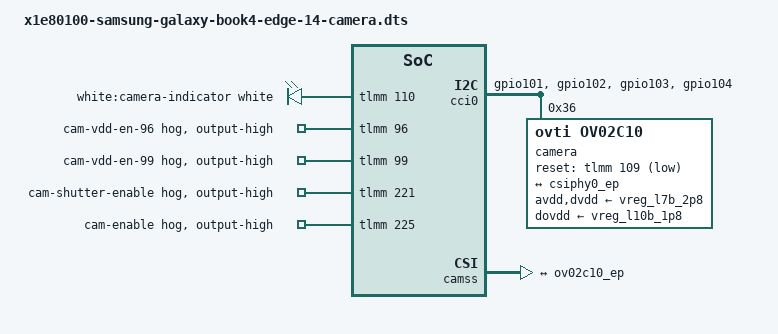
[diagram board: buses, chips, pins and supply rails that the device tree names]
// SPDX-License-Identifier: BSD-3-Clause
/*
 * EXPERIMENTAL: Galaxy Book4 Edge 14" with the front camera (OV02C10).
 *
 * CAMSS node: the legacy-binding example from (CSIPHY regions enlarged
 * from 0x1000 to 0x2000 as in zensanp's hamoa.dtsi: the 3ph PHY common
 * registers sit above 0x1000 and the example size oopses in csiphy_reset)
 * Documentation/devicetree/bindings/media/qcom,x1e80100-camss.yaml.
 * CCI0 node and pins: from zensanp's hamoa.dtsi (linux-book4-edge).
 * Sensor node, MCLK pins and GPIO hogs: after zensanp's Book4 Edge DTS and
 * ciscobugger's 15.6" DTS, checked against the Windows power sequence
 * (CAMF_RES_QRD.bin): GPIO 96/99 supplies, 109 reset, MCLK4 on gpio100.
 */

#include <dt-bindings/leds/common.h>
#include "x1e80100-samsung-galaxy-book4-edge-14.dts"

/ {
	camera-leds {
		compatible = "gpio-leds";

		pinctrl-names = "default";
		pinctrl-0 = <&cam_indicator_en>;

		/* Found 2 October by driving TLMM 110; same pin as the Dell XPS 13 9345 */
		cam_privacy_led: led-camera-indicator {
			label = "white:camera-indicator";
			function = LED_FUNCTION_INDICATOR;
			color = <LED_COLOR_ID_WHITE>;
			gpios = <&tlmm 110 GPIO_ACTIVE_HIGH>;
			default-state = "off";
		};
	};
};

&soc {
		cci0: cci@ac15000 {
			compatible = "qcom,x1e80100-cci", "qcom,msm8996-cci";
			reg = <0 0x0ac15000 0 0x1000>;

			interrupts = <GIC_SPI 460 IRQ_TYPE_EDGE_RISING>;

			clocks = <&camcc CAM_CC_CAMNOC_AXI_RT_CLK>,
				 <&camcc CAM_CC_CPAS_AHB_CLK>,
				 <&camcc CAM_CC_CCI_0_CLK>;
			clock-names = "camnoc_axi",
				      "cpas_ahb",
				      "cci";

			power-domains = <&camcc CAM_CC_TITAN_TOP_GDSC>;

			pinctrl-0 = <&cci0_default>;
			pinctrl-1 = <&cci0_sleep>;
			pinctrl-names = "default", "sleep";

			#address-cells = <1>;
			#size-cells = <0>;

			status = "okay";

			cci0_i2c0: i2c-bus@0 {
				reg = <0>;
				clock-frequency = <1000000>;
				#address-cells = <1>;
				#size-cells = <0>;
			};

			cci0_i2c1: i2c-bus@1 {
				reg = <1>;
				clock-frequency = <1000000>;
				#address-cells = <1>;
				#size-cells = <0>;
			};
		};

camss: isp@acb7000 {
            compatible = "qcom,x1e80100-camss";
            status = "okay";

            reg = <0 0x0acb7000 0 0x2000>,
                  <0 0x0acb9000 0 0x2000>,
                  <0 0x0acbb000 0 0x2000>,
                  <0 0x0acc6000 0 0x1000>,
                  <0 0x0acca000 0 0x1000>,
                  <0 0x0acb6000 0 0x1000>,
                  <0 0x0ace4000 0 0x2000>,
                  <0 0x0ace6000 0 0x2000>,
                  <0 0x0ace8000 0 0x2000>,
                  <0 0x0acec000 0 0x2000>,
                  <0 0x0acf6000 0 0x1000>,
                  <0 0x0acf7000 0 0x1000>,
                  <0 0x0acf8000 0 0x1000>,
                  <0 0x0ac62000 0 0x4000>,
                  <0 0x0ac71000 0 0x4000>,
                  <0 0x0acc7000 0 0x2000>,
                  <0 0x0accb000 0 0x2000>;

            reg-names = "csid0",
                        "csid1",
                        "csid2",
                        "csid_lite0",
                        "csid_lite1",
                        "csid_wrapper",
                        "csiphy0",
                        "csiphy1",
                        "csiphy2",
                        "csiphy4",
                        "csitpg0",
                        "csitpg1",
                        "csitpg2",
                        "vfe0",
                        "vfe1",
                        "vfe_lite0",
                        "vfe_lite1";

            clocks = <&camcc CAM_CC_CAMNOC_AXI_NRT_CLK>,
                     <&camcc CAM_CC_CAMNOC_AXI_RT_CLK>,
                     <&camcc CAM_CC_CORE_AHB_CLK>,
                     <&camcc CAM_CC_CPAS_AHB_CLK>,
                     <&camcc CAM_CC_CPAS_FAST_AHB_CLK>,
                     <&camcc CAM_CC_CPAS_IFE_0_CLK>,
                     <&camcc CAM_CC_CPAS_IFE_1_CLK>,
                     <&camcc CAM_CC_CPAS_IFE_LITE_CLK>,
                     <&camcc CAM_CC_CPHY_RX_CLK_SRC>,
                     <&camcc CAM_CC_CSID_CLK>,
                     <&camcc CAM_CC_CSID_CSIPHY_RX_CLK>,
                     <&camcc CAM_CC_CSIPHY0_CLK>,
                     <&camcc CAM_CC_CSI0PHYTIMER_CLK>,
                     <&camcc CAM_CC_CSIPHY1_CLK>,
                     <&camcc CAM_CC_CSI1PHYTIMER_CLK>,
                     <&camcc CAM_CC_CSIPHY2_CLK>,
                     <&camcc CAM_CC_CSI2PHYTIMER_CLK>,
                     <&camcc CAM_CC_CSIPHY4_CLK>,
                     <&camcc CAM_CC_CSI4PHYTIMER_CLK>,
                     <&gcc GCC_CAMERA_HF_AXI_CLK>,
                     <&gcc GCC_CAMERA_SF_AXI_CLK>,
                     <&camcc CAM_CC_IFE_0_CLK>,
                     <&camcc CAM_CC_IFE_0_FAST_AHB_CLK>,
                     <&camcc CAM_CC_IFE_1_CLK>,
                     <&camcc CAM_CC_IFE_1_FAST_AHB_CLK>,
                     <&camcc CAM_CC_IFE_LITE_CLK>,
                     <&camcc CAM_CC_IFE_LITE_AHB_CLK>,
                     <&camcc CAM_CC_IFE_LITE_CPHY_RX_CLK>,
                     <&camcc CAM_CC_IFE_LITE_CSID_CLK>;

            clock-names = "camnoc_nrt_axi",
                          "camnoc_rt_axi",
                          "core_ahb",
                          "cpas_ahb",
                          "cpas_fast_ahb",
                          "cpas_vfe0",
                          "cpas_vfe1",
                          "cpas_vfe_lite",
                          "cphy_rx_clk_src",
                          "csid",
                          "csid_csiphy_rx",
                          "csiphy0",
                          "csiphy0_timer",
                          "csiphy1",
                          "csiphy1_timer",
                          "csiphy2",
                          "csiphy2_timer",
                          "csiphy4",
                          "csiphy4_timer",
                          "gcc_axi_hf",
                          "gcc_axi_sf",
                          "vfe0",
                          "vfe0_fast_ahb",
                          "vfe1",
                          "vfe1_fast_ahb",
                          "vfe_lite",
                          "vfe_lite_ahb",
                          "vfe_lite_cphy_rx",
                          "vfe_lite_csid";

           interrupts = <GIC_SPI 464 IRQ_TYPE_EDGE_RISING>,
                        <GIC_SPI 466 IRQ_TYPE_EDGE_RISING>,
                        <GIC_SPI 431 IRQ_TYPE_EDGE_RISING>,
                        <GIC_SPI 468 IRQ_TYPE_EDGE_RISING>,
                        <GIC_SPI 359 IRQ_TYPE_EDGE_RISING>,
                        <GIC_SPI 477 IRQ_TYPE_EDGE_RISING>,
                        <GIC_SPI 478 IRQ_TYPE_EDGE_RISING>,
                        <GIC_SPI 479 IRQ_TYPE_EDGE_RISING>,
                        <GIC_SPI 122 IRQ_TYPE_EDGE_RISING>,
                        <GIC_SPI 465 IRQ_TYPE_EDGE_RISING>,
                        <GIC_SPI 467 IRQ_TYPE_EDGE_RISING>,
                        <GIC_SPI 469 IRQ_TYPE_EDGE_RISING>,
                        <GIC_SPI 360 IRQ_TYPE_EDGE_RISING>;

            interrupt-names = "csid0",
                              "csid1",
                              "csid2",
                              "csid_lite0",
                              "csid_lite1",
                              "csiphy0",
                              "csiphy1",
                              "csiphy2",
                              "csiphy4",
                              "vfe0",
                              "vfe1",
                              "vfe_lite0",
                              "vfe_lite1";

            interconnects = <&gem_noc MASTER_APPSS_PROC QCOM_ICC_TAG_ACTIVE_ONLY
                             &config_noc SLAVE_CAMERA_CFG QCOM_ICC_TAG_ACTIVE_ONLY>,
                            <&mmss_noc MASTER_CAMNOC_HF QCOM_ICC_TAG_ALWAYS
                             &mc_virt SLAVE_EBI1 QCOM_ICC_TAG_ALWAYS>,
                            <&mmss_noc MASTER_CAMNOC_SF QCOM_ICC_TAG_ALWAYS
                             &mc_virt SLAVE_EBI1 QCOM_ICC_TAG_ALWAYS>,
                            <&mmss_noc MASTER_CAMNOC_ICP QCOM_ICC_TAG_ALWAYS
                             &mc_virt SLAVE_EBI1 QCOM_ICC_TAG_ALWAYS>;

            interconnect-names = "ahb",
                                 "hf_mnoc",
                                 "sf_mnoc",
                                 "sf_icp_mnoc";

            iommus = <&apps_smmu 0x800 0x60>,
                     <&apps_smmu 0x860 0x60>,
                     <&apps_smmu 0x1800 0x60>,
                     <&apps_smmu 0x1860 0x60>,
                     <&apps_smmu 0x18e0 0x00>,
                     <&apps_smmu 0x1980 0x20>,
                     <&apps_smmu 0x1900 0x00>,
                     <&apps_smmu 0x19a0 0x20>;

            power-domains = <&camcc CAM_CC_IFE_0_GDSC>,
                            <&camcc CAM_CC_IFE_1_GDSC>,
                            <&camcc CAM_CC_TITAN_TOP_GDSC>;

            power-domain-names = "ife0",
                                 "ife1",
                                 "top";

            vdd-csiphy-0p8-supply = <&vreg_l2c_0p8>;
            vdd-csiphy-1p2-supply = <&vreg_l1c_1p2>;

            ports {
                #address-cells = <1>;
                #size-cells = <0>;

                port@0 {
                    reg = <0>;
                    csiphy0_ep: endpoint {
                        data-lanes = <0 1>;
                        remote-endpoint = <&ov02c10_ep>;
                    };
                };
            };
        };
};

&tlmm {
			cci0_default: cci0-default-state {
				cci0_i2c0_default: cci0-i2c0-default-pins {
					/* cci_i2c_sda0, cci_i2c_scl0 */
					pins = "gpio101", "gpio102";
					function = "cci_i2c";
					drive-strength = <2>;
					bias-pull-up;
				};

				cci0_i2c1_default: cci0-i2c1-default-pins {
					/* cci_i2c_sda1, cci_i2c_scl1 */
					pins = "gpio103", "gpio104";
					function = "cci_i2c";
					drive-strength = <2>;
					bias-pull-up;
				};
			};
			cci0_sleep: cci0-sleep-state {
				cci0_i2c0_sleep: cci0-i2c0-sleep-pins {
					/* cci_i2c_sda0, cci_i2c_scl0 */
					pins = "gpio101", "gpio102";
					function = "cci_i2c";
					drive-strength = <2>;
					bias-pull-down;
				};

				cci0_i2c1_sleep: cci0-i2c1-sleep-pins {
					/* cci_i2c_sda1, cci_i2c_scl1 */
					pins = "gpio103", "gpio104";
					function = "cci_i2c";
					drive-strength = <2>;
					bias-pull-down;
				};
			};

	cam_indicator_en: cam-indicator-en-state {
		pins = "gpio110";
		function = "gpio";
		drive-strength = <2>;
		bias-disable;
	};

	cam_rgb_default: cam-rgb-default-state {
		mclk-pins {
			/* cam_aon_mclk4 */
			pins = "gpio100";
			function = "cam_aon";
			drive-strength = <16>;
			bias-disable;
		};

		reset-n-pins {
			pins = "gpio109";
			function = "gpio";
			drive-strength = <2>;
			bias-disable;
		};
	};

	/* Windows raises 99, then 96, before releasing reset */
	cam-vdd-en-96-hog {
		gpio-hog;
		gpios = <96 GPIO_ACTIVE_HIGH>;
		output-high;
		line-name = "cam-vdd-en-96";
	};

	cam-vdd-en-99-hog {
		gpio-hog;
		gpios = <99 GPIO_ACTIVE_HIGH>;
		output-high;
		line-name = "cam-vdd-en-99";
	};

	cam-shutter-hog {
		gpio-hog;
		gpios = <221 GPIO_ACTIVE_HIGH>;
		output-high;
		line-name = "cam-shutter-enable";
	};

	cam-enable-hog {
		gpio-hog;
		gpios = <225 GPIO_ACTIVE_HIGH>;
		output-high;
		line-name = "cam-enable";
	};
};

&cci0_i2c0 {
	clock-frequency = <100000>;

	camera@36 {
		compatible = "ovti,ov02c10";
		reg = <0x36>;

		reset-gpios = <&tlmm 109 GPIO_ACTIVE_LOW>;
		pinctrl-names = "default";
		pinctrl-0 = <&cam_rgb_default>;

		clocks = <&camcc CAM_CC_MCLK4_CLK>;
		assigned-clocks = <&camcc CAM_CC_MCLK4_CLK>;
		assigned-clock-rates = <19200000>;

		/* lit by the V4L2 core while the sensor streams */
		leds = <&cam_privacy_led>;
		led-names = "privacy";

		orientation = <0>; /* front */
		rotation = <180>;

		avdd-supply = <&vreg_l7b_2p8>;
		dvdd-supply = <&vreg_l7b_2p8>;
		dovdd-supply = <&vreg_l10b_1p8>;

		port {
			ov02c10_ep: endpoint {
				data-lanes = <1 2>;
				link-frequencies = /bits/ 64 <400000000>;
				remote-endpoint = <&csiphy0_ep>;
			};
		};
	};
};
